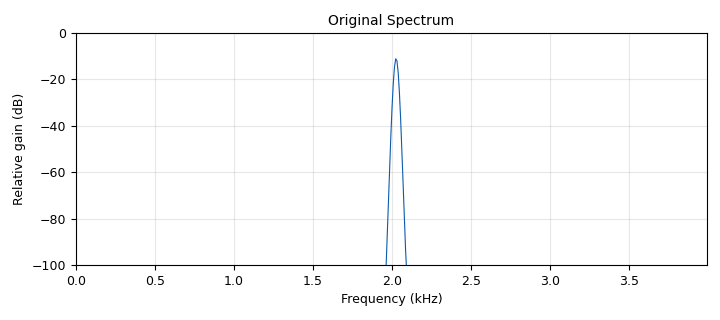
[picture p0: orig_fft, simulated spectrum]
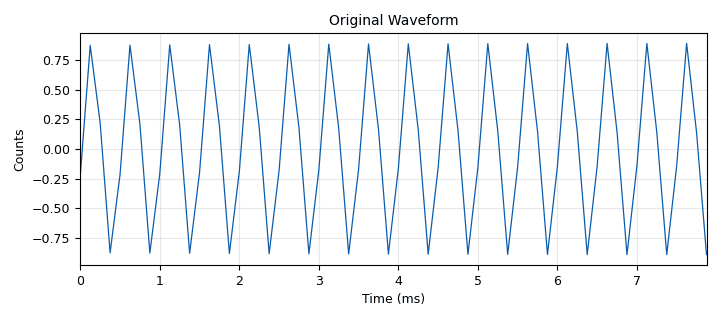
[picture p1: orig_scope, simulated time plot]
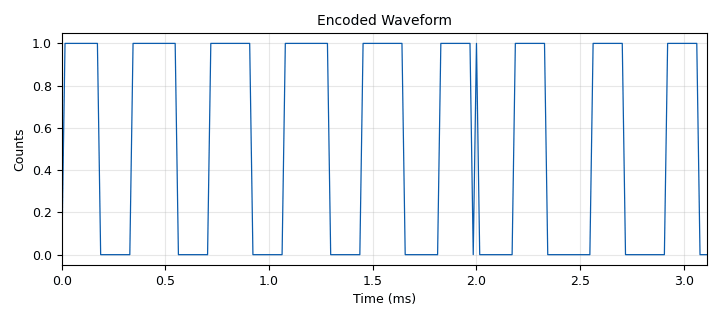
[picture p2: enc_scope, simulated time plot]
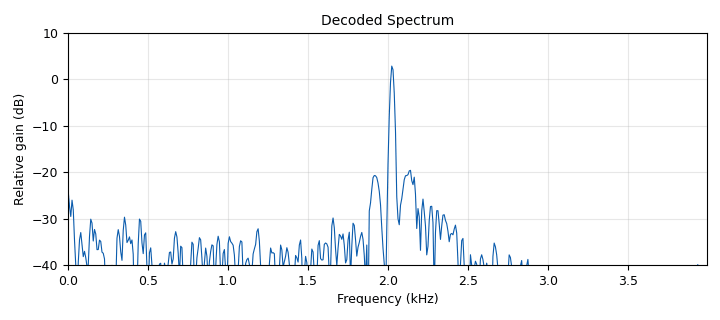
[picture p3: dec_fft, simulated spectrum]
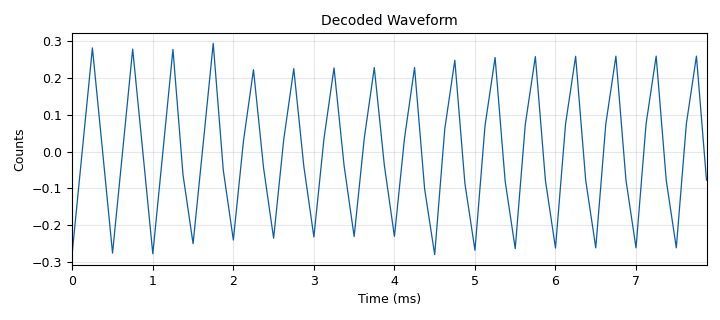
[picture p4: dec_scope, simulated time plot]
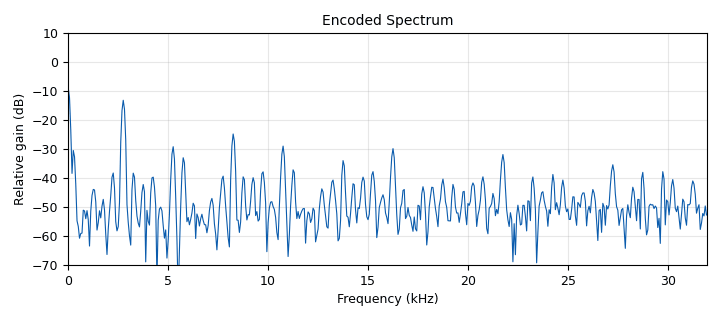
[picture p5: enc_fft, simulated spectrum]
<?xml version='1.0' encoding='utf-8'?>
<flow_graph>
<block>
<key>options</key>
<param><key>id</key><value>cvsd_sweep</value></param>
<param><key>title</key><value>CVSD Vocoder Test</value></param>
<param><key>generate_options</key><value>wx_gui</value></param>
<param><key>category</key><value>Custom</value></param>
</block>
<block>
<key>import</key>
<param><key>id</key><value>import_0</value></param>
<param><key>import</key><value>import math</value></param>
</block>
<block>
<key>vocoder_cvsd_decode_bf</key>
<param><key>id</key><value>vocoder_cvsd_decode_bf_0</value></param>
<param><key>resample</key><value>resample</value></param>
<param><key>bw</key><value>bw</value></param>
</block>
<block>
<key>gr_vco_f</key>
<param><key>id</key><value>vco</value></param>
<param><key>samp_rate</key><value>audio_rate</value></param>
<param><key>sensitivity</key><value>audio_rate*2*math.pi</value></param>
<param><key>amplitude</key><value>0.9</value></param>
</block>
<block>
<key>vocoder_cvsd_encode_fb</key>
<param><key>id</key><value>enc</value></param>
<param><key>resample</key><value>resample</value></param>
<param><key>bw</key><value>bw</value></param>
</block>
<block>
<key>gr_packed_to_unpacked_xx</key>
<param><key>id</key><value>p2u</value></param>
<param><key>type</key><value>byte</value></param>
<param><key>bits_per_chunk</key><value>1</value></param>
<param><key>endianness</key><value>gr.GR_MSB_FIRST</value></param>
<param><key>num_ports</key><value>1</value></param>
</block>
<block>
<key>gr_char_to_float</key>
<param><key>id</key><value>c2f</value></param>
<param><key>vlen</key><value>1</value></param>
<param><key>scale</key><value>1</value></param>
</block>
<block>
<key>audio_sink</key>
<param><key>id</key><value>audio_sink</value></param>
<param><key>samp_rate</key><value>audio_rate</value></param>
<param><key>device_name</key><value>plughw:0,0</value></param>
</block>
<block>
<key>variable</key>
<param><key>id</key><value>audio_rate</value></param>
<param><key>value</key><value>8000</value></param>
</block>
<block>
<key>variable</key>
<param><key>id</key><value>resample</value></param>
<param><key>value</key><value>8</value></param>
</block>
<block>
<key>variable</key>
<param><key>id</key><value>bw</value></param>
<param><key>value</key><value>0.5</value></param>
</block>
<block>
<key>notebook</key>
<param><key>id</key><value>displays</value></param>
<param><key>style</key><value>wx.NB_TOP</value></param>
<param><key>labels</key><value>['Original','Encoded','Decoded']</value></param>
</block>
<block>
<key>wxgui_fftsink2</key>
<param><key>id</key><value>orig_fft</value></param>
<param><key>type</key><value>float</value></param>
<param><key>title</key><value>Original Spectrum</value></param>
<param><key>samp_rate</key><value>audio_rate</value></param>
<param><key>baseband_freq</key><value>0</value></param>
<param><key>y_per_div</key><value>10</value></param>
<param><key>y_divs</key><value>10</value></param>
<param><key>ref_level</key><value>0</value></param>
<param><key>ref_scale</key><value>2.0</value></param>
<param><key>fft_size</key><value>1024</value></param>
<param><key>fft_rate</key><value>30</value></param>
<param><key>peak_hold</key><value>False</value></param>
<param><key>average</key><value>False</value></param>
<param><key>avg_alpha</key><value>0</value></param>
<param><key>win</key><value>None</value></param>
<param><key>grid_pos</key><value>0, 0, 1, 1</value></param>
<param><key>notebook</key><value>displays, 0</value></param>
<param><key>freqvar</key><value>None</value></param>
</block>
<block>
<key>wxgui_scopesink2</key>
<param><key>id</key><value>orig_scope</value></param>
<param><key>type</key><value>float</value></param>
<param><key>title</key><value>Original Waveform</value></param>
<param><key>samp_rate</key><value>audio_rate</value></param>
<param><key>v_scale</key><value>0</value></param>
<param><key>v_offset</key><value>0</value></param>
<param><key>t_scale</key><value>0</value></param>
<param><key>ac_couple</key><value>False</value></param>
<param><key>xy_mode</key><value>False</value></param>
<param><key>num_inputs</key><value>1</value></param>
<param><key>grid_pos</key><value>1, 0, 1, 1</value></param>
<param><key>notebook</key><value>displays, 0</value></param>
<param><key>trig_mode</key><value>gr.gr_TRIG_MODE_AUTO</value></param>
<param><key>y_axis_label</key><value>Counts</value></param>
</block>
<block>
<key>wxgui_scopesink2</key>
<param><key>id</key><value>enc_scope</value></param>
<param><key>type</key><value>float</value></param>
<param><key>title</key><value>Encoded Waveform</value></param>
<param><key>samp_rate</key><value>audio_rate*resample</value></param>
<param><key>v_scale</key><value>0.5</value></param>
<param><key>v_offset</key><value>0</value></param>
<param><key>t_scale</key><value>20.0/(audio_rate*resample)</value></param>
<param><key>ac_couple</key><value>False</value></param>
<param><key>xy_mode</key><value>False</value></param>
<param><key>num_inputs</key><value>1</value></param>
<param><key>grid_pos</key><value>0, 0, 1, 1</value></param>
<param><key>notebook</key><value>displays, 1</value></param>
<param><key>trig_mode</key><value>gr.gr_TRIG_MODE_AUTO</value></param>
<param><key>y_axis_label</key><value>Counts</value></param>
</block>
<block>
<key>wxgui_fftsink2</key>
<param><key>id</key><value>dec_fft</value></param>
<param><key>type</key><value>float</value></param>
<param><key>title</key><value>Decoded Spectrum</value></param>
<param><key>samp_rate</key><value>audio_rate</value></param>
<param><key>baseband_freq</key><value>0</value></param>
<param><key>y_per_div</key><value>5</value></param>
<param><key>y_divs</key><value>10</value></param>
<param><key>ref_level</key><value>10</value></param>
<param><key>ref_scale</key><value>0.1</value></param>
<param><key>fft_size</key><value>1024</value></param>
<param><key>fft_rate</key><value>30</value></param>
<param><key>peak_hold</key><value>False</value></param>
<param><key>average</key><value>False</value></param>
<param><key>avg_alpha</key><value>0</value></param>
<param><key>win</key><value>None</value></param>
<param><key>grid_pos</key><value>0, 0, 1, 1</value></param>
<param><key>notebook</key><value>displays, 2</value></param>
<param><key>freqvar</key><value>None</value></param>
</block>
<block>
<key>wxgui_scopesink2</key>
<param><key>id</key><value>dec_scope</value></param>
<param><key>type</key><value>float</value></param>
<param><key>title</key><value>Decoded Waveform</value></param>
<param><key>samp_rate</key><value>audio_rate</value></param>
<param><key>v_scale</key><value>0</value></param>
<param><key>v_offset</key><value>0</value></param>
<param><key>t_scale</key><value>0</value></param>
<param><key>ac_couple</key><value>False</value></param>
<param><key>xy_mode</key><value>False</value></param>
<param><key>num_inputs</key><value>1</value></param>
<param><key>grid_pos</key><value>1, 0, 1, 1</value></param>
<param><key>notebook</key><value>displays, 2</value></param>
<param><key>trig_mode</key><value>gr.gr_TRIG_MODE_AUTO</value></param>
<param><key>y_axis_label</key><value>Counts</value></param>
</block>
<block>
<key>gr_throttle</key>
<param><key>id</key><value>throttle</value></param>
<param><key>type</key><value>float</value></param>
<param><key>samples_per_second</key><value>audio_rate</value></param>
<param><key>vlen</key><value>1</value></param>
</block>
<block>
<key>analog_sig_source_x</key>
<param><key>id</key><value>analog_sig_source_x_0</value></param>
<param><key>type</key><value>float</value></param>
<param><key>samp_rate</key><value>audio_rate</value></param>
<param><key>waveform</key><value>analog.GR_TRI_WAVE</value></param>
<param><key>freq</key><value>0.05</value></param>
<param><key>amp</key><value>0.5</value></param>
<param><key>offset</key><value>0</value></param>
</block>
<block>
<key>wxgui_fftsink2</key>
<param><key>id</key><value>enc_fft</value></param>
<param><key>type</key><value>float</value></param>
<param><key>title</key><value>Encoded Spectrum</value></param>
<param><key>samp_rate</key><value>audio_rate*resample</value></param>
<param><key>baseband_freq</key><value>0</value></param>
<param><key>y_per_div</key><value>10</value></param>
<param><key>y_divs</key><value>8</value></param>
<param><key>ref_level</key><value>10</value></param>
<param><key>ref_scale</key><value>2.0</value></param>
<param><key>fft_size</key><value>1024</value></param>
<param><key>fft_rate</key><value>30</value></param>
<param><key>peak_hold</key><value>False</value></param>
<param><key>average</key><value>False</value></param>
<param><key>avg_alpha</key><value>0</value></param>
<param><key>win</key><value>None</value></param>
<param><key>grid_pos</key><value>1, 0, 1, 1</value></param>
<param><key>notebook</key><value>displays, 1</value></param>
<param><key>freqvar</key><value>None</value></param>
</block>
<connection><source_block_id>vco</source_block_id><sink_block_id>orig_fft</sink_block_id><source_key>0</source_key><sink_key>0</sink_key></connection>
<connection><source_block_id>throttle</source_block_id><sink_block_id>vco</sink_block_id><source_key>0</source_key><sink_key>0</sink_key></connection>
<connection><source_block_id>vco</source_block_id><sink_block_id>enc</sink_block_id><source_key>0</source_key><sink_key>0</sink_key></connection>
<connection><source_block_id>enc</source_block_id><sink_block_id>vocoder_cvsd_decode_bf_0</sink_block_id><source_key>0</source_key><sink_key>0</sink_key></connection>
<connection><source_block_id>vco</source_block_id><sink_block_id>orig_scope</sink_block_id><source_key>0</source_key><sink_key>0</sink_key></connection>
<connection><source_block_id>vocoder_cvsd_decode_bf_0</source_block_id><sink_block_id>dec_fft</sink_block_id><source_key>0</source_key><sink_key>0</sink_key></connection>
<connection><source_block_id>vocoder_cvsd_decode_bf_0</source_block_id><sink_block_id>dec_scope</sink_block_id><source_key>0</source_key><sink_key>0</sink_key></connection>
<connection><source_block_id>vocoder_cvsd_decode_bf_0</source_block_id><sink_block_id>audio_sink</sink_block_id><source_key>0</source_key><sink_key>0</sink_key></connection>
<connection><source_block_id>enc</source_block_id><sink_block_id>p2u</sink_block_id><source_key>0</source_key><sink_key>0</sink_key></connection>
<connection><source_block_id>p2u</source_block_id><sink_block_id>c2f</sink_block_id><source_key>0</source_key><sink_key>0</sink_key></connection>
<connection><source_block_id>c2f</source_block_id><sink_block_id>enc_fft</sink_block_id><source_key>0</source_key><sink_key>0</sink_key></connection>
<connection><source_block_id>c2f</source_block_id><sink_block_id>enc_scope</sink_block_id><source_key>0</source_key><sink_key>0</sink_key></connection>
<connection><source_block_id>analog_sig_source_x_0</source_block_id><sink_block_id>throttle</sink_block_id><source_key>0</source_key><sink_key>0</sink_key></connection>
</flow_graph>
